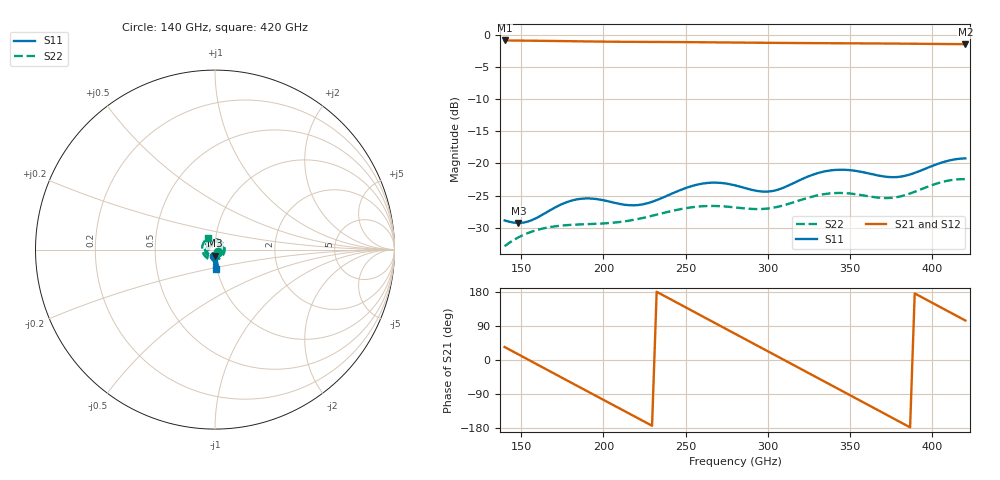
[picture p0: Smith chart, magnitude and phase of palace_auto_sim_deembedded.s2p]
! Created with skrf 1.11.0 (http://scikit-rf.org).
# GHz S DB R 50.0
!freq dBS11 angS11 dBS21 angS21 dBS12 angS12 dBS22 angS22
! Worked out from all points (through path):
!   101 points, 140 GHz to 420 GHz, reference 50 ohm
!   highest |S21| = -0.81 dB at 140 GHz (marker M1); lowest = -1.4 dB at 420 GHz (marker M2)
!   group delay of S21, straight-line fit = 6.45 ps
!   lowest |S11| = -29.3 dB at 148.4 GHz (marker M3), VSWR 1.07, Z = 49.7 - j3.41 ohm
!   |S11| at or under -10 dB: start of sweep to end of sweep
!   |S22| runs from -32.9 to -22.4 dB; largest |S21 - S12| = 1e-13
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140  -28.89 -98.4  -0.81 34.2  -0.81 34.2  -32.90 -34.4
148.4  -29.28 -93.2  -0.83 14.7  -0.83 14.7  -31.53 -68.9
165.2  -27.66 -82.6  -0.87 -24.3  -0.87 -24.3  -30.04 -137.3
176.4  -26.17 -85.0  -0.91 -50.3  -0.91 -50.3  -29.65 175.4
187.6  -25.48 -91.3  -0.95 -76.3  -0.95 -76.3  -29.49 125.9
207.2  -26.16 -96.9  -1.01 -121.7  -1.01 -121.7  -29.21 33.8
221.2  -26.48 -90.2  -1.03 -154.1  -1.03 -154.1  -28.66 -34.6
235.2  -25.43 -83.3  -1.04 173.5  -1.04 173.5  -27.81 -101.8
246.4  -24.19 -83.0  -1.06 147.4  -1.06 147.4  -27.15 -153.2
260.4  -23.13 -88.3  -1.09 114.8  -1.09 114.8  -26.67 144.7
280  -23.41 -96.3  -1.13 69.3  -1.13 69.3  -26.86 56.7
294  -24.31 -93.1  -1.16 36.8  -1.16 36.8  -27.12 -11.1
305.2  -24.16 -85.0  -1.19 10.8  -1.19 10.8  -26.81 -67.5
316.4  -22.96 -80.1  -1.21 -15.2  -1.21 -15.2  -25.99 -122.1
327.6  -21.73 -81.7  -1.23 -41.1  -1.23 -41.1  -25.13 -173.4
338.8  -21.06 -86.6  -1.24 -67.1  -1.24 -67.1  -24.65 137.5
350  -21.05 -91.5  -1.26 -93.2  -1.26 -93.2  -24.69 88.3
361.2  -21.55 -93.6  -1.27 -119.2  -1.27 -119.2  -25.12 36.2
375.2  -22.14 -89.2  -1.29 -151.8  -1.29 -151.8  -25.36 -34.7
394.8  -20.91 -80.4  -1.33 162.7  -1.33 162.7  -23.85 -132.1
408.8  -19.62 -83.1  -1.37 130.2  -1.37 130.2  -22.71 167.0
420  -19.20 -88.4  -1.39 104.2  -1.39 104.2  -22.45 120.7
